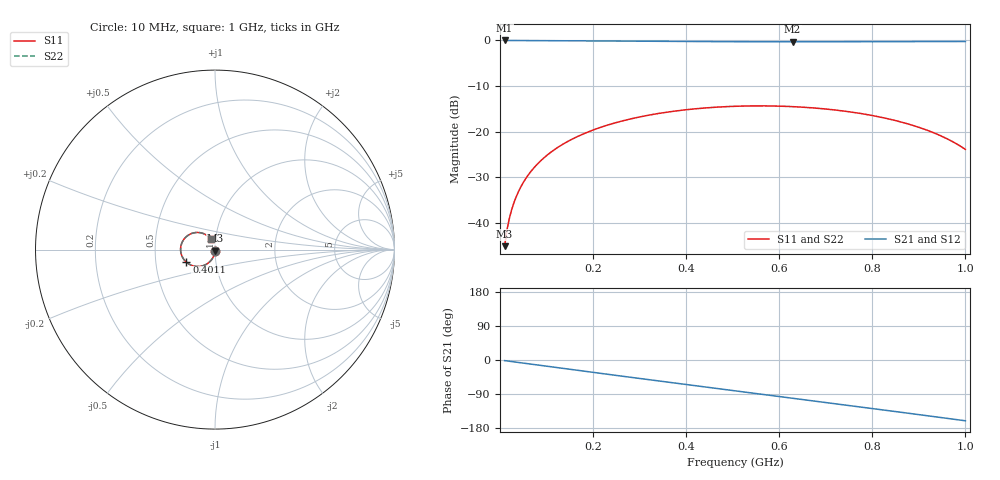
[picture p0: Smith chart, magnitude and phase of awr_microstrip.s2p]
! AWR Design Environment (17415) Wed Nov  6 14:17:59 2024
! Document = 'Microstrip'
! nPorts: 2, nXvals: 201
# MHz S DB R 50
!Freq DBS11 AngS11 DBS21 AngS21 DBS12 AngS12 DBS22 AngS22
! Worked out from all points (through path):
!   201 points, 10 MHz to 1 GHz, reference 50 ohm
!   highest |S21| = -0.01 dB at 10 MHz (marker M1); lowest = -0.3 dB at 628.8 MHz (marker M2)
!   group delay of S21, straight-line fit = 443 ps
!   lowest |S11| = -45.1 dB at 10 MHz (marker M3), VSWR 1.01, Z = 50 - j0.556 ohm
!   |S11| at or under -10 dB: start of sweep to end of sweep
!   |S22| runs from -45.1 to -14.3 dB; largest |S21 - S12| = 1.9e-15
!   S11 on the Smith chart (normalised r, x): 10 MHz: 1.00, -0.01; 401.1 MHz: 0.72, -0.10; 1 GHz: 0.95, +0.11
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10  -45.10 -89.2  -0.01 -1.6  -0.01 -1.6  -45.10 -89.2
14.95  -41.61 -90.8  -0.01 -2.4  -0.01 -2.4  -41.61 -90.8
19.9  -39.13 -92.2  -0.01 -3.3  -0.01 -3.3  -39.13 -92.2
29.8  -35.64 -94.4  -0.01 -4.9  -0.01 -4.9  -35.64 -94.4
44.65  -32.14 -97.4  -0.02 -7.3  -0.02 -7.3  -32.14 -97.4
59.5  -29.67 -100.1  -0.03 -9.7  -0.03 -9.7  -29.67 -100.1
84.25  -26.70 -104.5  -0.04 -13.8  -0.04 -13.8  -26.70 -104.5
109  -24.53 -108.7  -0.05 -17.8  -0.05 -17.8  -24.53 -108.7
138.7  -22.54 -113.7  -0.07 -22.7  -0.07 -22.7  -22.54 -113.7
178.3  -20.53 -120.3  -0.09 -29.1  -0.09 -29.1  -20.53 -120.3
252.55  -17.93 -132.4  -0.14 -41.1  -0.14 -41.1  -17.93 -132.4
341.65  -15.99 -146.7  -0.20 -55.4  -0.20 -55.4  -15.99 -146.7
401.05  -15.18 -156.2  -0.23 -64.8  -0.23 -64.8  -15.18 -156.2
505  -14.43 -172.5  -0.28 -81.3  -0.28 -81.3  -14.43 -172.5
564.4  -14.35 178.2  -0.29 -90.7  -0.29 -90.7  -14.35 178.2
628.75  -14.51 168.2  -0.30 -100.8  -0.30 -100.8  -14.51 168.2
673.3  -14.79 161.2  -0.30 -107.9  -0.30 -107.9  -14.79 161.2
752.5  -15.67 148.9  -0.29 -120.4  -0.29 -120.4  -15.67 148.9
836.65  -17.24 136.0  -0.26 -133.9  -0.26 -133.9  -17.24 136.0
930.7  -20.19 121.8  -0.24 -149.1  -0.24 -149.1  -20.19 121.8
965.35  -21.80 116.8  -0.24 -154.7  -0.24 -154.7  -21.80 116.8
1000  -23.88 112.3  -0.23 -160.4  -0.23 -160.4  -23.88 112.3
